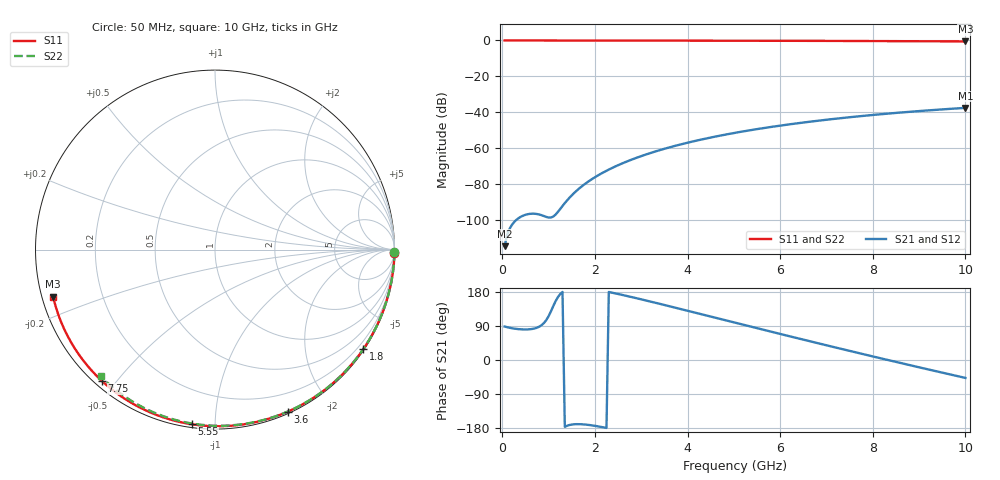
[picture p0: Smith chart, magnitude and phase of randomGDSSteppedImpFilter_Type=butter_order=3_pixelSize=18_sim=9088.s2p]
! freq	dB(S11)	phase(S11)	dB(S12)	phase(S12)
!  dB(S21)	phase(S21)	dB(S22)	phase(S22)
!S-par simulation data
#  GHz  S  DB  R 50
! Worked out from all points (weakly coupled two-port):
!   200 points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, 50 MHz to 10 GHz, reference 50 ohm
!   highest |S21| = -37.53 dB at 10 GHz (marker M1); lowest = -114.5 dB at 50 MHz (marker M2)
!   lowest |S11| = -0.5 dB at 10 GHz (marker M3), VSWR 31.99, Z = 1.6 - j7.13 ohm
!   |S11| at or under -10 dB: nowhere
!   |S22| runs from -0.4 to 0.0 dB; largest |S21 - S12| = 0
!   S11 on the Smith chart (normalised r, x): 50 MHz: open; 1.8 GHz: 0.03, -3.28; 3.6 GHz: 0.02, -1.54; 5.55 GHz: 0.02, -0.87; 7.75 GHz: 0.02, -0.46; 10 GHz: 0.03, -0.14
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0.05  -0.00 -1.0  -114.47 88.3  -114.47 88.3  -0.00 -0.8
0.45  -0.01 -8.6  -97.49 80.7  -97.49 80.7  -0.01 -6.9
0.85  -0.02 -16.2  -97.25 92.1  -97.25 92.1  -0.02 -12.9
1.3  -0.03 -24.6  -92.10 179.6  -92.10 179.6  -0.02 -19.7
1.75  -0.04 -33.0  -80.52 -169.9  -80.52 -169.9  -0.03 -26.3
1.8  -0.04 -33.9  -79.56 -170.4  -79.56 -170.4  -0.03 -27.1
1.95  -0.05 -36.6  -76.92 -172.8  -76.92 -172.8  -0.04 -29.3
2.1  -0.05 -39.4  -74.59 -175.8  -74.59 -175.8  -0.04 -31.5
2.3  -0.06 -43.0  -71.85 179.5  -71.85 179.5  -0.04 -34.4
2.5  -0.06 -46.6  -69.42 174.3  -69.42 174.3  -0.05 -37.3
2.9  -0.07 -53.7  -65.27 163.0  -65.27 163.0  -0.06 -43.0
3.4  -0.08 -62.4  -61.03 148.2  -61.03 148.2  -0.07 -50.1
3.6  -0.09 -65.8  -59.56 142.2  -59.56 142.2  -0.07 -52.9
4.3  -0.11 -77.6  -55.12 120.8  -55.12 120.8  -0.09 -62.5
5.05  -0.14 -89.7  -51.29 97.7  -51.29 97.7  -0.11 -72.5
5.55  -0.16 -97.6  -49.13 82.4  -49.13 82.4  -0.13 -79.0
6.1  -0.19 -106.1  -47.03 65.8  -47.03 65.8  -0.15 -86.0
6.7  -0.22 -115.2  -45.03 47.7  -45.03 47.7  -0.18 -93.5
7.75  -0.30 -130.7  -42.07 16.7  -42.07 16.7  -0.24 -106.1
8.35  -0.36 -139.5  -40.65 -0.7  -40.65 -0.7  -0.29 -113.1
9.2  -0.45 -151.9  -38.90 -25.0  -38.90 -25.0  -0.36 -122.9
10  -0.54 -163.8  -37.53 -47.3  -37.53 -47.3  -0.44 -132.0
